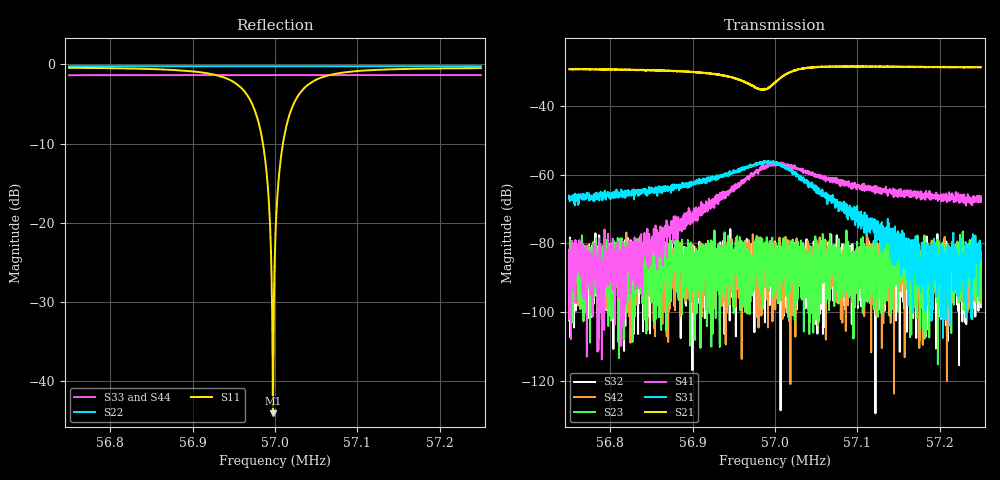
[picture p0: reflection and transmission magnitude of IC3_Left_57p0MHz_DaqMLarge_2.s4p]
#  HZ  S  DB  R  50.00
! Rohde & Schwarz Vector Network Analyzer
! Rohde-Schwarz,ZNB8-4Port,1311601044102961,2.82
! Created: UTC 2/12/2019, 1:29:54 PM
! freq[Hz]  db:S11  ang:S11  db:S12  ang:S12  db:S13  ang:S13  db:S14  ang:S14
!  db:S21  ang:S21  db:S22  ang:S22  db:S23  ang:S23  db:S24  ang:S24
!  db:S31  ang:S31  db:S32  ang:S32  db:S33  ang:S33  db:S34  ang:S34
!  db:S41  ang:S41  db:S42  ang:S42  db:S43  ang:S43  db:S44  ang:S44
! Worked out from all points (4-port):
!   2001 points, 56.75 MHz to 57.25 MHz, reference 50 ohm
!   strongest paths, dB at 56.75 MHz, 56.875 MHz, 57 MHz, 57.125 MHz, 57.25 MHz:
!     S21: -29.3, -29.8, -33.2, -28.6, -28.7
!     S31: -67.0, -64.2, -56.5, -73.8, -84.2
!     S41: -102.1, -73.6, -57.3, -64.4, -68.0
!     S23: -83.7, -85.8, -82.7, -84.9, -88.3
!     S42: -96.2, -86.4, -84.7, -89.1, -97.2
!     S32: -102.5, -91.4, -79.5, -91.7, -98.6
!   lowest |S11| = -44.0 dB at 56.9975 MHz (marker M1), VSWR 1.01, Z = 50.5 + j0.398 ohm
!   |S11| at or under -10 dB: 56.98536 MHz to 57.00964 MHz (24.28 kHz wide, 0.0426 % of centre)
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5.675e7  -0.44 -133.6  -29.25 60.5  -67.85 -143.7  -75.25 -152.8
         -29.30 60.3  -0.24 75.2  -83.71 111.9  -81.64 -49.2
         -67.04 -157.4  -102.46 160.7  -1.37 24.3  -88.87 -63.7
         -102.08 -19.0  -96.19 104.1  -81.50 137.9  -1.37 17.3
5.6962e7  -3.30 175.9  -32.77 44.6  -60.93 -169.9  -61.94 -24.3
          -32.72 44.7  -0.24 71.6  -82.87 67.7  -77.25 73.8
          -58.03 171.8  -87.78 -4.5  -1.35 21.8  -93.42 152.7
          -61.44 -22.0  -88.35 170.8  -101.27 -87.8  -1.36 14.8
5.698675e7  -10.96 145.1  -35.27 68.2  -56.29 139.9  -57.84 -52.7
            -34.98 67.9  -0.23 71.2  -86.44 -81.7  -89.51 162.6
            -55.94 142.2  -81.19 -45.7  -1.36 21.5  -85.75 121.8
            -57.42 -48.9  -81.77 139.0  -89.80 5.5  -1.36 14.5
5.69975e7  -44.05 38.9  -33.74 82.5  -56.37 125.4  -57.08 -70.1
           -33.63 83.6  -0.24 71.0  -85.41 -53.2  -97.43 67.0
           -56.07 124.2  -86.69 -54.8  -1.36 21.4  -85.28 149.1
           -57.20 -66.7  -87.44 32.8  -88.32 -92.3  -1.36 14.3
5.700825e7  -10.93 -68.4  -31.62 85.7  -57.37 107.9  -56.84 -84.6
            -31.67 86.4  -0.23 70.8  -84.23 -46.6  -81.27 113.8
            -57.26 110.2  -82.24 -65.0  -1.36 21.2  -97.96 -56.8
            -56.79 -87.5  -89.56 162.9  -88.01 -29.3  -1.36 14.2
5.703325e7  -3.24 -99.5  -29.12 76.1  -61.21 77.8  -58.45 -118.1
            -29.04 75.6  -0.23 70.4  -91.29 -100.1  -80.43 -24.4
            -61.10 76.5  -95.90 43.9  -1.35 20.9  -95.35 -125.4
            -58.63 -115.2  -91.80 0.4  -86.93 21.8  -1.36 13.9
5.725e7  -0.47 -150.6  -28.76 48.0  -86.64 110.9  -67.78 -150.0
         -28.68 48.1  -0.23 66.8  -88.27 117.8  -88.47 -123.2
         -84.18 165.7  -98.58 -0.2  -1.35 18.4  -86.86 36.3
         -67.98 -159.9  -97.23 -15.6  -88.45 -122.3  -1.36 11.3
